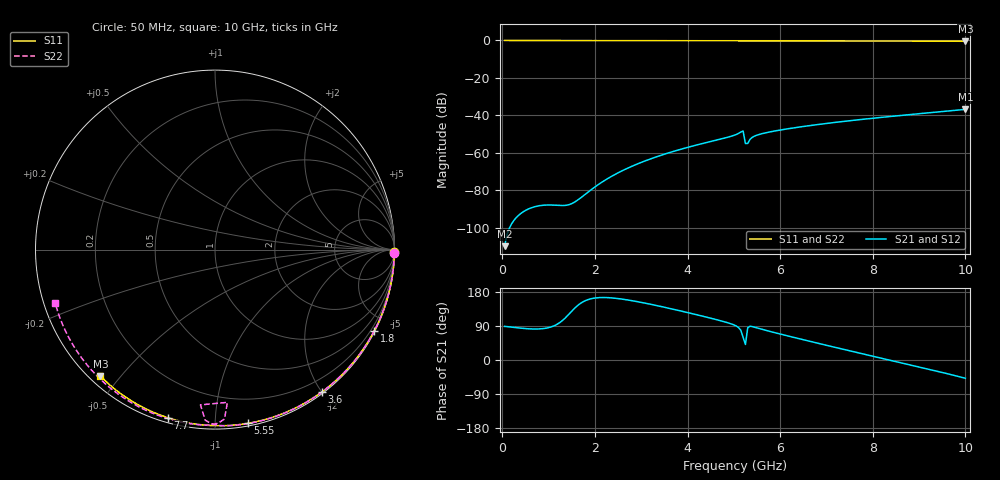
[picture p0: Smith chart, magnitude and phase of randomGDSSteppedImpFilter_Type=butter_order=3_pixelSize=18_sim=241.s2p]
! freq	dB(S11)	phase(S11)	dB(S12)	phase(S12)
!  dB(S21)	phase(S21)	dB(S22)	phase(S22)
!S-par simulation data
#  GHz  S  DB  R 50
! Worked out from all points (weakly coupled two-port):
!   200 points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, 50 MHz to 10 GHz, reference 50 ohm
!   highest |S21| = -36.81 dB at 10 GHz (marker M1); lowest = -109.9 dB at 50 MHz (marker M2)
!   lowest |S11| = -0.4 dB at 10 GHz (marker M3), VSWR 39.54, Z = 1.51 - j22.1 ohm
!   |S11| at or under -10 dB: nowhere
!   |S22| runs from -1.4 to 0.0 dB; largest |S21 - S12| = 0
!   S11 on the Smith chart (normalised r, x): 50 MHz: open; 1.8 GHz: 0.04, -4.14; 3.6 GHz: 0.02, -2.00; 5.55 GHz: 0.02, -1.21; 7.7 GHz: 0.02, -0.76; 10 GHz: 0.03, -0.44
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0.05  -0.00 -0.8  -109.87 88.7  -109.87 88.7  -0.00 -0.9
0.9  -0.02 -13.7  -87.96 83.1  -87.96 83.1  -0.02 -16.6
1.75  -0.03 -26.4  -82.97 154.0  -82.97 154.0  -0.04 -32.0
1.8  -0.03 -27.1  -82.00 156.9  -82.00 156.9  -0.04 -32.9
1.9  -0.04 -28.6  -80.07 161.1  -80.07 161.1  -0.04 -34.7
2.3  -0.04 -34.5  -73.42 164.4  -73.42 164.4  -0.05 -41.8
2.7  -0.05 -40.3  -68.29 158.6  -68.29 158.6  -0.06 -48.8
3.4  -0.07 -50.3  -61.56 141.9  -61.56 141.9  -0.08 -60.8
3.6  -0.07 -53.1  -59.97 136.5  -59.97 136.5  -0.09 -64.2
4.4  -0.09 -64.0  -54.57 113.4  -54.57 113.4  -0.11 -77.5
5.05  -0.11 -72.7  -50.24 89.9  -50.24 89.9  -0.20 -89.6
5.15  -0.11 -74.0  -48.88 78.7  -48.88 78.7  -0.43 -93.3
5.2  -0.12 -74.7  -48.37 59.6  -48.37 59.6  -1.22 -95.4
5.25  -0.12 -75.3  -55.05 40.9  -55.05 40.9  -1.37 -85.4
5.3  -0.12 -76.0  -55.00 85.2  -55.00 85.2  -0.48 -86.8
5.35  -0.12 -76.6  -52.79 89.2  -52.79 89.2  -0.29 -89.0
5.45  -0.13 -77.9  -51.05 86.4  -51.05 86.4  -0.20 -91.8
5.55  -0.13 -79.2  -50.17 82.9  -50.17 82.9  -0.18 -93.9
6.7  -0.18 -93.7  -45.27 47.6  -45.27 47.6  -0.22 -112.2
7.7  -0.24 -105.7  -42.33 18.6  -42.33 18.6  -0.29 -127.0
8.35  -0.29 -113.3  -40.68 0.1  -40.68 0.1  -0.35 -136.6
10  -0.44 -132.2  -36.81 -48.2  -36.81 -48.2  -0.55 -161.7
